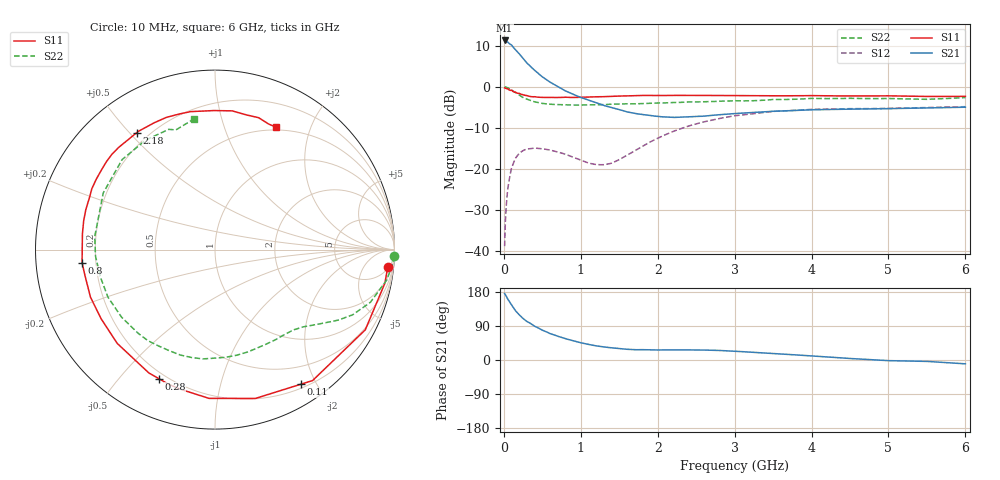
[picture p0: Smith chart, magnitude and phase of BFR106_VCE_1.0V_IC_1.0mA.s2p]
! Infineon Technologies  Discrete & RF Semiconductors
! BFR106
! VCE =  1.0 V,  IC =  1.0 mA
! Common Emitter S-Parameters:  Nov 2015
# GHz  S  MA  R  50
!  f  S11  S21  S12  S22
! GHz  MAG  ANG  MAG  ANG  MAG  ANG  MAG  ANG
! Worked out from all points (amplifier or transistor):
!   210 points, 10 MHz to 6 GHz, reference 50 ohm
!   highest |S21| = 11.3 dB at 10 MHz (marker M1)
!   |S21| within 3 dB of that: start of sweep to 186.7 MHz
!   unconditionally stable (mu >= 1): 840.1 MHz to end of sweep
!   at 185 MHz: K = 0.23, MSG = 12.5 dB, |S12| = -16.6 dB
!   at 1.52 GHz: K = 1.49, MAG = 1.8 dB, |S12| = -17.6 dB
!   at 6 GHz: K = 1.02, MAG = -0.9 dB, |S12| = -4.9 dB
!   S11 on the Smith chart (normalised r, x): 10 MHz: 6, -18; 110 MHz: 0.25, -1.80; 280 MHz: 0.17, -0.64; 800 MHz: 0.15, -0.05; 2.18 GHz: 0.15, +0.52; 6 GHz: 0.47, +1.52
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0.01  0.9675 -5.8  3.672 175.5  0.0113 87.7  0.9986 -2.1
0.025  0.9564 -14.0  3.602 170.6  0.0279 79.8  0.9894 -5.1
0.045  0.946 -25.3  3.522 162.9  0.0499 73.9  0.9752 -9.0
0.1  0.9099 -53.3  3.234 145.1  0.1013 59.6  0.9144 -18.7
0.11  0.8901 -57.4  3.14 142.4  0.1073 56.6  0.9002 -20.0
0.15  0.8593 -74.8  2.842 130.1  0.1335 47.3  0.8482 -25.4
0.2  0.8296 -92.3  2.525 119.2  0.154 38.7  0.7904 -29.8
0.24  0.8017 -103.8  2.278 111.4  0.1638 32.6  0.7474 -32.8
0.28  0.7841 -113.6  2.054 104.9  0.1705 28.2  0.7172 -35.2
0.4  0.7549 -136.2  1.587 89.1  0.1783 17.8  0.6543 -41.1
0.5  0.7423 -148.7  1.321 78.7  0.1752 12.4  0.6254 -45.7
0.6  0.7427 -159.1  1.139 69.8  0.1686 8.7  0.6114 -50.7
0.8  0.7442 -174.4  0.89 56.3  0.1499 6.2  0.5993 -61.2
1.02  0.7443 172.2  0.729 44.7  0.1248 11.0  0.5986 -73.6
1.4  0.7654 153.7  0.555 32.1  0.1164 40.2  0.6126 -96.3
2.02  0.7802 129.1  0.432 26.5  0.2398 58.7  0.6329 -133.8
2.18  0.7843 123.8  0.422 26.9  0.2792 56.8  0.6403 -143.0
2.6  0.7849 110.2  0.437 26.3  0.3723 48.0  0.6564 -166.4
3.1  0.7778 98.2  0.476 22.0  0.4523 35.6  0.6716 169.6
4.1  0.7764 81.8  0.525 9.5  0.5303 14.6  0.7177 133.2
5.1  0.771 70.8  0.542 -2.1  0.546 0.3  0.7144 110.4
6  0.762 63.3  0.562 -10.1  0.5708 -9.1  0.738 99.0
